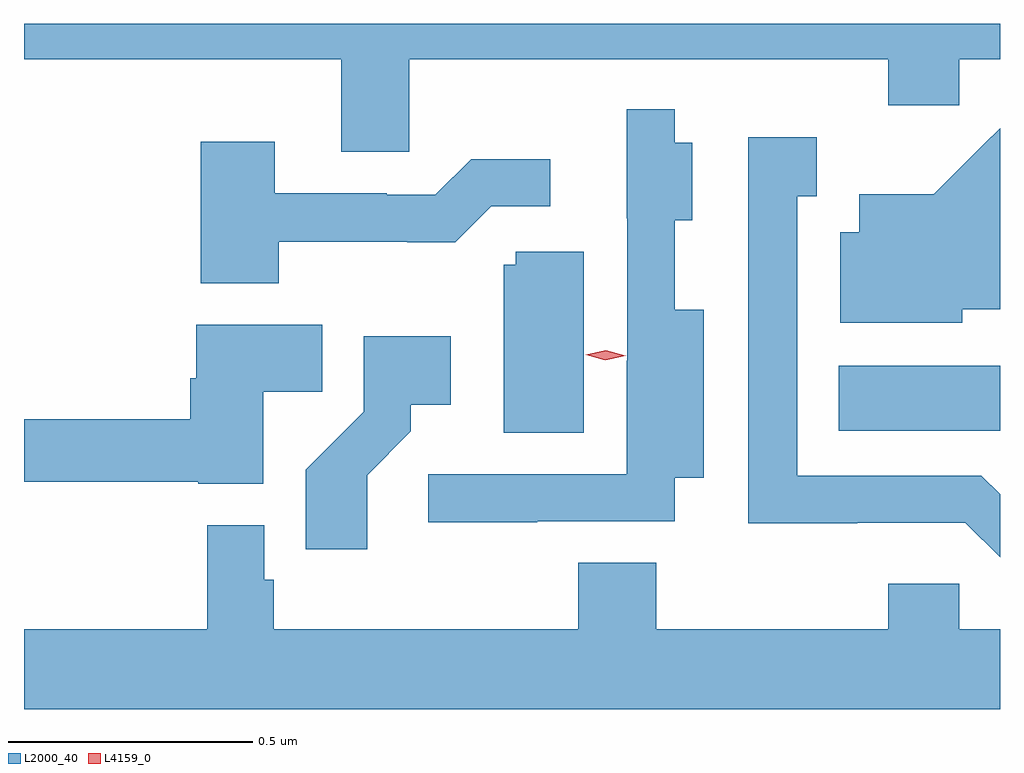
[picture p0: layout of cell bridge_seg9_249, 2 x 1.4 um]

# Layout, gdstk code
import gdstk
lib = gdstk.Library(unit=1e-6, precision=1e-09)
def R(c, l, rs):  # rectangles x0, y0, x1, y1
    for r in rs: c.add(gdstk.rectangle(r[:2], r[2:], *l))
def P(c, l, *ps):  # polygons
    for p in ps: c.add(gdstk.Polygon(p, *l))
L2000_40 = (2000, 40)
L4159_0 = (4159, 0)

bridge_seg9_249 = lib.new_cell('bridge_seg9_249')
R(bridge_seg9_249, L2000_40, [(246.371,1219.634,246.701,1219.768)])
P(bridge_seg9_249, L2000_40, [(245.49,1220.396),(246.472,1220.396),(246.472,1220.301),(246.618,1220.301),(246.618,1220.396),(246.701,1220.396),(246.701,1220.468),(244.701,1220.468),(244.701,1220.396),(245.351,1220.396),(245.351,1220.206),(245.49,1220.206)],
  [(245.753,1219.449),(246.034,1219.449),(246.034,1219.538),(246.094,1219.538),(246.094,1219.882),(246.034,1219.882),(246.034,1220.066),(246.07,1220.066),(246.07,1220.224),(246.034,1220.224),(246.034,1220.293),(245.936,1220.293),(245.936,1220.07),(245.937,1220.07),(245.937,1219.778),(245.936,1219.778),(245.936,1219.545),(245.529,1219.545),(245.529,1219.447),(245.753,1219.447)],
  [(246.624,1219.883),(246.701,1219.883),(246.701,1220.254),(246.668,1220.221),(246.565,1220.119),(246.413,1220.119),(246.413,1220.041),(246.374,1220.041),(246.374,1219.856),(246.624,1219.856)],
  [(246.701,1219.504),(246.663,1219.542),(246.286,1219.542),(246.286,1220.115),(246.325,1220.115),(246.325,1220.236),(246.185,1220.236),(246.185,1219.445),(246.408,1219.445),(246.408,1219.446),(246.63,1219.446),(246.701,1219.375)],
  [(245.223,1220.022),(245.486,1220.022),(245.486,1220.021),(245.585,1220.021),(245.658,1220.094),(245.779,1220.094),(245.779,1220.191),(245.617,1220.191),(245.544,1220.118),(245.444,1220.118),(245.444,1220.121),(245.215,1220.121),(245.215,1220.227),(245.063,1220.227),(245.063,1219.937),(245.223,1219.937)],
  [(245.848,1220.001),(245.709,1220.001),(245.709,1219.974),(245.684,1219.974),(245.684,1219.63),(245.848,1219.63)],
  [(245.191,1219.714),(245.312,1219.714),(245.312,1219.852),(245.054,1219.852),(245.054,1219.742),(245.042,1219.742),(245.042,1219.658),(244.701,1219.658),(244.701,1219.53),(245.058,1219.53),(245.058,1219.526),(245.191,1219.526)],
  [(245.404,1219.543),(245.494,1219.633),(245.494,1219.688),(245.575,1219.688),(245.575,1219.828),(245.397,1219.828),(245.397,1219.673),(245.278,1219.554),(245.278,1219.392),(245.404,1219.392)],
  [(246.701,1219.228),(246.618,1219.228),(246.618,1219.321),(246.472,1219.321),(246.472,1219.228),(245.997,1219.228),(245.997,1219.364),(245.837,1219.364),(245.837,1219.228),(245.213,1219.228),(245.213,1219.329),(245.193,1219.329),(245.193,1219.441),(245.077,1219.441),(245.077,1219.228),(244.701,1219.228),(244.701,1219.064),(246.701,1219.064)])
P(bridge_seg9_249, L4159_0, [(245.892,1219.779),(245.852,1219.79),(245.851,1219.79),(245.852,1219.79),(245.893,1219.799),(245.934,1219.788),(245.934,1219.788),(245.934,1219.788)])

lib.write_gds('bridge_seg9_249.gds')
